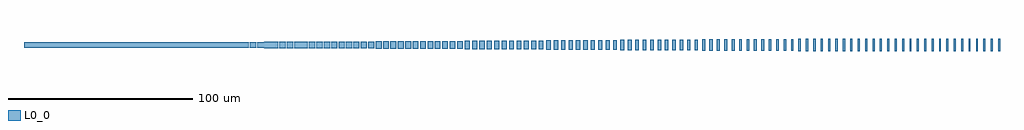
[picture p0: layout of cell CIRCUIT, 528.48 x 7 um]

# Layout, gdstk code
import gdstk
lib = gdstk.Library(unit=1e-6, precision=1e-09)
def R(c, l, rs):  # rectangles x0, y0, x1, y1
    for r in rs: c.add(gdstk.rectangle(r[:2], r[2:], *l))
L0_0 = (0, 0)

circuit = lib.new_cell('CIRCUIT')
R(circuit, L0_0, [(523.52,196.5,524.48,203.5), (527.52,196.5,528.48,203.5), (519.519,196.501,520.481,203.499), (515.518,196.503,516.482,203.497), (511.516,196.506,512.484,203.494), (507.514,196.509,508.486,203.491), (503.511,196.513,504.489,203.487), (499.508,196.517,500.492,203.483), (495.504,196.522,496.496,203.478), (491.5,196.528,492.5,203.472), (487.495,196.535,488.505,203.465), (483.49,196.542,484.51,203.458), (479.485,196.55,480.515,203.45), (475.479,196.558,476.521,203.442), (471.472,196.568,472.528,203.432), (467.465,196.577,468.535,203.423), (463.458,196.588,464.542,203.412), (459.45,196.599,460.55,203.401), (455.441,196.611,456.559,203.389), (451.433,196.623,452.567,203.377), (447.423,196.636,448.577,203.364), (443.414,196.65,444.586,203.35), (439.404,196.664,440.596,203.336), (435.393,196.679,436.607,203.321), (431.382,196.694,432.618,203.306), (427.371,196.71,428.629,203.29), (423.359,196.726,424.641,203.274), (419.347,196.743,420.653,203.257), (415.335,196.761,416.665,203.239), (411.322,196.779,412.678,203.221), (407.309,196.798,408.691,203.202), (403.295,196.817,404.705,203.183), (399.281,196.836,400.719,203.164), (395.267,196.856,396.733,203.144), (391.253,196.877,392.747,203.123), (387.238,196.897,388.762,203.103), (383.223,196.919,384.777,203.081), (379.207,196.94,380.793,203.06), (375.192,196.962,376.808,203.038), (371.176,196.985,372.824,203.015), (367.16,197.008,368.84,202.992), (363.143,197.031,364.857,202.969), (359.126,197.054,360.874,202.946), (355.11,197.078,356.89,202.922), (351.092,197.102,352.908,202.898), (347.075,197.126,348.925,202.874), (343.058,197.151,344.942,202.849), (339.04,197.176,340.96,202.824), (335.022,197.201,336.978,202.799), (331.004,197.226,332.996,202.774), (326.986,197.252,329.014,202.748), (322.968,197.277,325.032,202.723), (318.95,197.303,321.05,202.697), (314.931,197.329,317.069,202.671), (310.913,197.355,313.087,202.645), (306.894,197.381,309.106,202.619), (302.876,197.408,305.124,202.592), (298.857,197.434,301.143,202.566), (294.838,197.46,297.162,202.54), (290.819,197.487,293.181,202.513), (286.801,197.513,289.199,202.487), (282.782,197.54,285.218,202.46), (278.763,197.566,281.237,202.434), (274.744,197.592,277.256,202.408), (270.726,197.619,273.274,202.381), (266.707,197.645,269.293,202.355), (262.689,197.671,265.311,202.329), (258.67,197.697,261.33,202.303), (254.652,197.723,257.348,202.277), (250.634,197.748,253.366,202.252), (246.616,197.774,249.384,202.226), (242.598,197.799,245.402,202.201), (238.58,197.824,241.42,202.176), (234.562,197.849,237.438,202.151), (230.545,197.874,233.455,202.126), (226.528,197.898,229.472,202.102), (222.51,197.922,225.49,202.078), (218.494,197.946,221.506,202.054), (214.477,197.969,217.523,202.031), (210.46,197.992,213.54,202.008), (206.444,198.015,209.556,201.985), (202.428,198.038,205.572,201.962), (198.413,198.06,201.587,201.94), (194.397,198.081,197.603,201.919), (190.382,198.103,193.618,201.897), (186.367,198.123,189.633,201.877), (182.353,198.144,185.647,201.856), (178.339,198.164,181.661,201.836), (174.325,198.183,177.675,201.817), (170.311,198.202,173.689,201.798), (166.298,198.221,169.702,201.779), (162.285,198.239,165.715,201.761), (158.273,198.257,161.727,201.743), (154.261,198.274,157.739,201.726), (150.249,198.29,153.751,201.71), (146.238,198.306,149.762,201.694), (142.227,198.321,145.773,201.679), (138.216,198.336,141.784,201.664), (134.206,198.35,137.794,201.65), (130.197,198.364,133.803,201.636), (126.187,198.377,129.813,201.623), (122.179,198.389,125.821,201.611), (118.17,198.401,121.83,201.599), (114.162,198.412,117.838,201.588), (110.155,198.423,113.845,201.577), (106.148,198.432,109.852,201.568), (102.141,198.442,105.859,201.558), (98.135,198.45,101.865,201.55), (94.13,198.458,97.87,201.542), (90.125,198.465,93.875,201.535), (86.12,198.472,89.88,201.528), (82.116,198.478,85.884,201.522), (78.112,198.483,81.888,201.517), (74.109,198.487,77.891,201.513), (70.106,198.491,73.894,201.509), (66.104,198.494,69.896,201.506), (62.102,198.497,65.898,201.503), (58.101,198.499,61.899,201.501), (0,198.5,50,201.5), (50.1,198.5,53.9,201.5), (54.1,198.5,57.9,201.5)])

lib.write_gds('CIRCUIT.gds')
